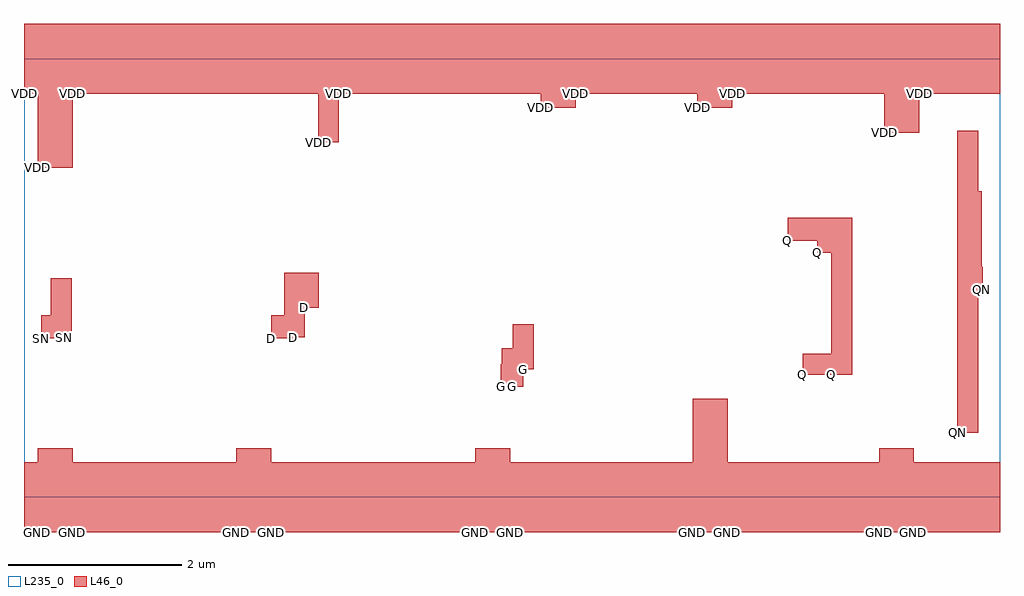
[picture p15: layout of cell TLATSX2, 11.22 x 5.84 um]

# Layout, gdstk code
import gdstk
lib = gdstk.Library(unit=1e-6, precision=1e-09)
def R(c, l, rs):  # rectangles x0, y0, x1, y1
    for r in rs: c.add(gdstk.rectangle(r[:2], r[2:], *l))
L46_0 = (46, 0)
L235_0 = (235, 0)

tlatsx2 = lib.new_cell('TLATSX2')
R(tlatsx2, L46_0, [(0,-0.4,0.16,0.4), (0.16,-0.4,0.56,0.56), (0.56,-0.4,2.44,0.4), (2.44,-0.4,2.84,0.56), (2.84,-0.4,5.19,0.4), (5.19,-0.4,5.59,0.56), (5.59,-0.4,7.69,0.4), (7.69,-0.4,8.09,1.13), (8.09,-0.4,9.83,0.4), (9.83,-0.4,10.23,0.56), (10.23,-0.4,11.22,0.4), (10.73,0.74,10.97,4.21), (5.48,1.27,5.49,1.53), (5.49,1.27,5.62,1.71), (5.62,1.27,5.74,1.99), (8.95,1.41,9.28,1.65), (9.28,1.41,9.52,3.21), (5.74,1.47,5.86,1.99), (0.2,1.83,0.31,2.09), (0.31,1.83,0.46,2.52), (2.84,1.83,2.99,2.09), (2.99,1.83,3.1,2.58), (0.46,1.84,0.55,2.52), (3.1,1.84,3.23,2.58), (3.23,2.18,3.39,2.58), (10.97,2.39,11.01,3.52), (11.01,2.39,11.02,2.65), (9.12,2.81,9.28,3.21), (8.78,2.95,9.12,3.21), (0.16,3.79,0.56,5.44), (3.38,4.08,3.62,5.44), (9.89,4.19,10.29,5.44), (5.94,4.48,6.34,5.44), (7.74,4.48,8.14,5.44), (0,4.64,0.16,5.44), (0.56,4.64,3.38,5.44), (3.62,4.64,5.94,5.44), (6.34,4.64,7.74,5.44), (8.14,4.64,9.89,5.44), (10.29,4.64,11.22,5.44)])
R(tlatsx2, L235_0, [(0,0,11.22,5.04)])
tlatsx2.add(gdstk.Label('SN', (0.46,1.84), layer=101, texttype=0))
tlatsx2.add(gdstk.Label('SN', (0.31,1.83), layer=101, texttype=0))
tlatsx2.add(gdstk.Label('SN', (0.2,1.83), layer=101, texttype=0))
tlatsx2.add(gdstk.Label('QN', (11.01,2.39), layer=101, texttype=0))
tlatsx2.add(gdstk.Label('QN', (10.97,2.39), layer=101, texttype=0))
tlatsx2.add(gdstk.Label('QN', (10.73,0.74), layer=101, texttype=0))
tlatsx2.add(gdstk.Label('Q', (9.28,1.41), layer=101, texttype=0))
tlatsx2.add(gdstk.Label('Q', (8.95,1.41), layer=101, texttype=0))
tlatsx2.add(gdstk.Label('Q', (9.12,2.81), layer=101, texttype=0))
tlatsx2.add(gdstk.Label('Q', (8.78,2.95), layer=101, texttype=0))
tlatsx2.add(gdstk.Label('G', (5.74,1.47), layer=101, texttype=0))
tlatsx2.add(gdstk.Label('G', (5.62,1.27), layer=101, texttype=0))
tlatsx2.add(gdstk.Label('G', (5.49,1.27), layer=101, texttype=0))
tlatsx2.add(gdstk.Label('G', (5.48,1.27), layer=101, texttype=0))
tlatsx2.add(gdstk.Label('D', (3.23,2.18), layer=101, texttype=0))
tlatsx2.add(gdstk.Label('D', (3.1,1.84), layer=101, texttype=0))
tlatsx2.add(gdstk.Label('D', (2.99,1.83), layer=101, texttype=0))
tlatsx2.add(gdstk.Label('D', (2.84,1.83), layer=101, texttype=0))
tlatsx2.add(gdstk.Label('VDD', (10.29,4.64), layer=101, texttype=0))
tlatsx2.add(gdstk.Label('VDD', (9.89,4.19), layer=101, texttype=0))
tlatsx2.add(gdstk.Label('VDD', (8.14,4.64), layer=101, texttype=0))
tlatsx2.add(gdstk.Label('VDD', (7.74,4.48), layer=101, texttype=0))
tlatsx2.add(gdstk.Label('VDD', (6.34,4.64), layer=101, texttype=0))
tlatsx2.add(gdstk.Label('VDD', (5.94,4.48), layer=101, texttype=0))
tlatsx2.add(gdstk.Label('VDD', (3.62,4.64), layer=101, texttype=0))
tlatsx2.add(gdstk.Label('VDD', (3.38,4.08), layer=101, texttype=0))
tlatsx2.add(gdstk.Label('VDD', (0.56,4.64), layer=101, texttype=0))
tlatsx2.add(gdstk.Label('VDD', (0.16,3.79), layer=101, texttype=0))
tlatsx2.add(gdstk.Label('VDD', (0,4.64), layer=101, texttype=0))
tlatsx2.add(gdstk.Label('GND', (10.23,-0.4), layer=101, texttype=0))
tlatsx2.add(gdstk.Label('GND', (9.83,-0.4), layer=101, texttype=0))
tlatsx2.add(gdstk.Label('GND', (8.09,-0.4), layer=101, texttype=0))
tlatsx2.add(gdstk.Label('GND', (7.69,-0.4), layer=101, texttype=0))
tlatsx2.add(gdstk.Label('GND', (5.59,-0.4), layer=101, texttype=0))
tlatsx2.add(gdstk.Label('GND', (5.19,-0.4), layer=101, texttype=0))
tlatsx2.add(gdstk.Label('GND', (2.84,-0.4), layer=101, texttype=0))
tlatsx2.add(gdstk.Label('GND', (2.44,-0.4), layer=101, texttype=0))
tlatsx2.add(gdstk.Label('GND', (0.56,-0.4), layer=101, texttype=0))
tlatsx2.add(gdstk.Label('GND', (0.16,-0.4), layer=101, texttype=0))
tlatsx2.add(gdstk.Label('GND', (0,-0.4), layer=101, texttype=0))

lib.write_gds('TLATSX2.gds')
